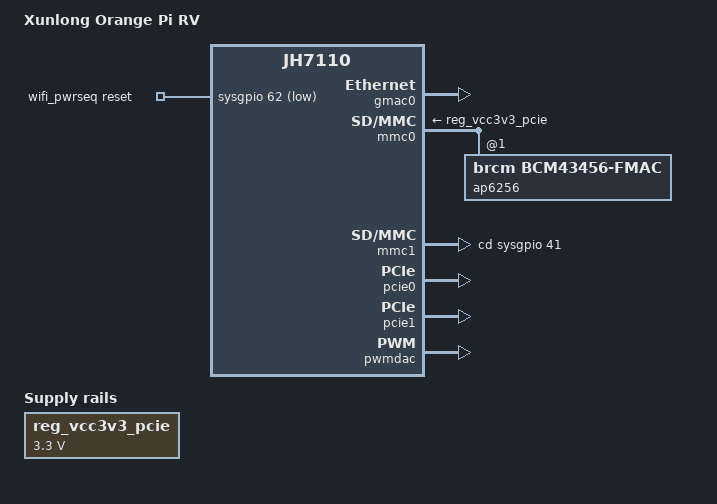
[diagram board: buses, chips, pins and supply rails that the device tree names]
// SPDX-License-Identifier: GPL-2.0 OR MIT
/*
 * Copyright (C) 2025 Icenowy Zheng <uwu@icenowy.me>
 */

/dts-v1/;
#include "jh7110-common.dtsi"

/ {
	model = "Xunlong Orange Pi RV";
	compatible = "xunlong,orangepi-rv", "starfive,jh7110";

	/* This regulator is always on by hardware */
	reg_vcc3v3_pcie: regulator-vcc3v3-pcie {
		compatible = "regulator-fixed";
		regulator-name = "vcc3v3-pcie";
		regulator-min-microvolt = <3300000>;
		regulator-max-microvolt = <3300000>;
		regulator-always-on;
	};

	wifi_pwrseq: wifi-pwrseq {
		compatible = "mmc-pwrseq-simple";
		reset-gpios = <&sysgpio 62 GPIO_ACTIVE_LOW>;
	};
};

&gmac0 {
	assigned-clocks = <&aoncrg JH7110_AONCLK_GMAC0_TX>;
	assigned-clock-parents = <&aoncrg JH7110_AONCLK_GMAC0_RMII_RTX>;
	starfive,tx-use-rgmii-clk;
	status = "okay";
};

&mmc0 {
	#address-cells = <1>;
	#size-cells = <0>;
	cap-sd-highspeed;
	mmc-pwrseq = <&wifi_pwrseq>;
	vmmc-supply = <&reg_vcc3v3_pcie>;
	vqmmc-supply = <&vcc_3v3>;
	status = "okay";

	ap6256: wifi@1 {
		compatible = "brcm,bcm43456-fmac", "brcm,bcm4329-fmac";
		reg = <1>;
		/* TODO: out-of-band IRQ on GPIO21, lacking pinctrl support */
	};
};

&mmc1 {
	cd-gpios = <&sysgpio 41 GPIO_ACTIVE_HIGH>;
};

&pcie0 {
	status = "okay";
};

&pcie1 {
	status = "okay";
};

&phy0 {
	rx-internal-delay-ps = <1500>;
	tx-internal-delay-ps = <1500>;
	motorcomm,rx-clk-drv-microamp = <3970>;
	motorcomm,rx-data-drv-microamp = <2910>;
	motorcomm,tx-clk-adj-enabled;
	motorcomm,tx-clk-10-inverted;
	motorcomm,tx-clk-100-inverted;
	motorcomm,tx-clk-1000-inverted;
};

&pwmdac {
	status = "okay";
};
